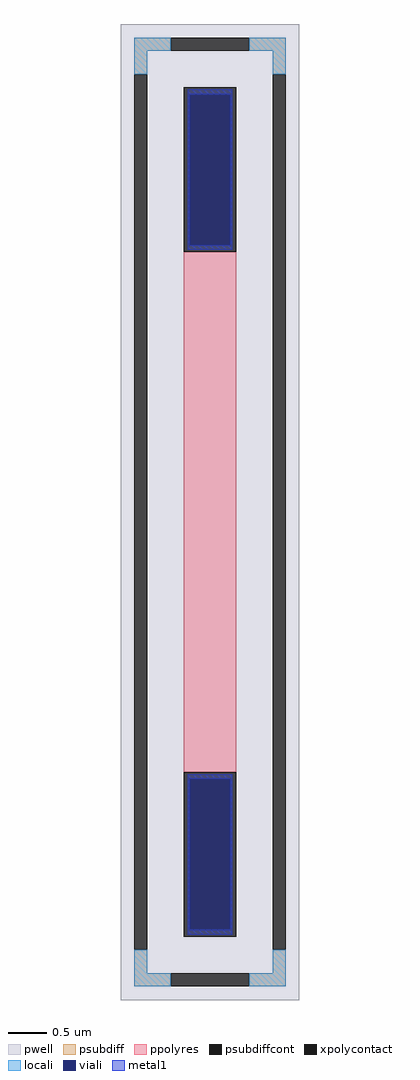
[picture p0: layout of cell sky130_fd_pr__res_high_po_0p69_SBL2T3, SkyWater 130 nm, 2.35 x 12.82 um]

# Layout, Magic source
magic
tech sky130A
magscale 1 2
<< pwell >>
rect -235 -1282 235 1282
<< psubdiff >>
rect -199 1212 -103 1246
rect 103 1212 199 1246
rect -199 1150 -165 1212
rect 165 1150 199 1212
rect -199 -1212 -165 -1150
rect 165 -1212 199 -1150
rect -199 -1246 -103 -1212
rect 103 -1246 199 -1212
<< psubdiffcont >>
rect -103 1212 103 1246
rect -199 -1150 -165 1150
rect 165 -1150 199 1150
rect -103 -1246 103 -1212
<< xpolycontact >>
rect -69 684 69 1116
rect -69 -1116 69 -684
<< ppolyres >>
rect -69 -684 69 684
<< locali >>
rect -199 1212 -103 1246
rect 103 1212 199 1246
rect -199 1150 -165 1212
rect 165 1150 199 1212
rect -199 -1212 -165 -1150
rect 165 -1212 199 -1150
rect -199 -1246 -103 -1212
rect 103 -1246 199 -1212
<< viali >>
rect -53 701 53 1098
rect -53 -1098 53 -701
<< metal1 >>
rect -59 1098 59 1110
rect -59 701 -53 1098
rect 53 701 59 1098
rect -59 689 59 701
rect -59 -701 59 -689
rect -59 -1098 -53 -701
rect 53 -1098 59 -701
rect -59 -1110 59 -1098
<< properties >>
string FIXED_BBOX -182 -1229 182 1229
string gencell sky130_fd_pr__res_high_po_0p69
string library sky130
string parameters w 0.690 l 7.0 m 1 nx 1 wmin 0.690 lmin 0.50 rho 319.8 val 3.809k dummy 0 dw 0.0 term 194.82 sterm 0.0 caplen 0 guard 1 glc 1 grc 1 gtc 1 gbc 1 compatible {sky130_fd_pr__res_high_po_0p35  sky130_fd_pr__res_high_po_0p69 sky130_fd_pr__res_high_po_1p41  sky130_fd_pr__res_high_po_2p85 sky130_fd_pr__res_high_po_5p73} snake 0 full_metal 1 wmax 0.690 n_guard 0 hv_guard 0 vias 1 viagb 0 viagt 0 viagl 0 viagr 0
<< end >>
